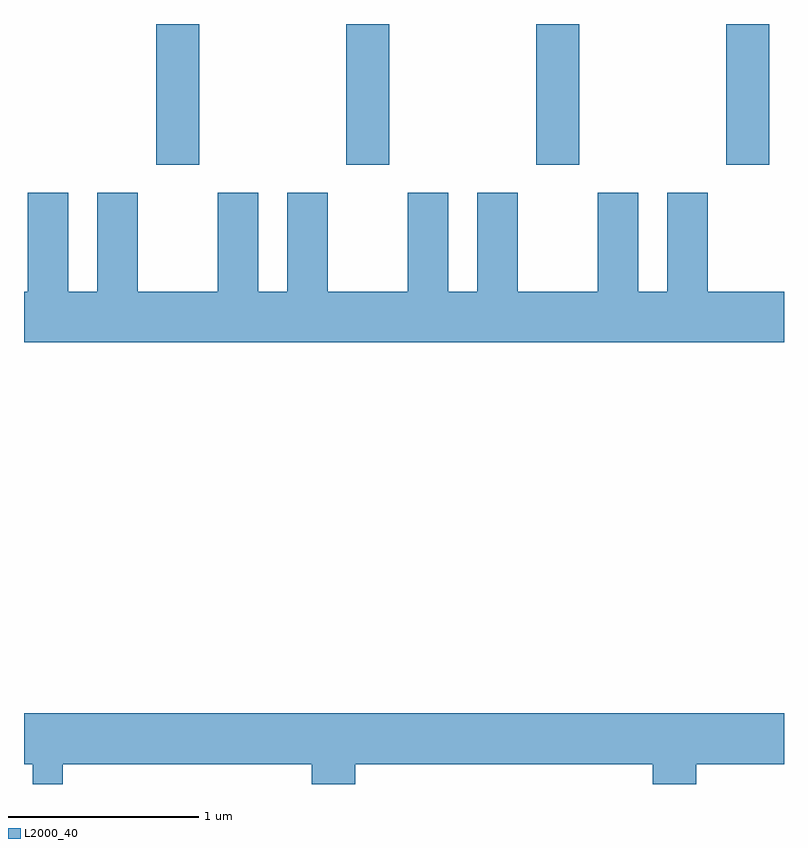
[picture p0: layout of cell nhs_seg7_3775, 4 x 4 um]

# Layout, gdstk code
import gdstk
lib = gdstk.Library(unit=1e-6, precision=1e-09)
def R(c, l, rs):  # rectangles x0, y0, x1, y1
    for r in rs: c.add(gdstk.rectangle(r[:2], r[2:], *l))
def A(c, l, x, y, w, h, nx, ny, dx, dy):  # array of equal rectangles
    R(c, l, [(x+i*dx, y+j*dy, x+i*dx+w, y+j*dy+h) for i in range(nx) for j in range(ny)])
def P(c, l, *ps):  # polygons
    for p in ps: c.add(gdstk.Polygon(p, *l))
L2000_40 = (2000, 40)

nhs_seg7_3775 = lib.new_cell('nhs_seg7_3775')
A(nhs_seg7_3775, L2000_40, 302.306, 1677.511, 0.228, 0.741, 4, 1, 1, 0)
P(nhs_seg7_3775, L2000_40, [(305.611,1676.844),(305.209,1676.844),(305.209,1677.364),(304.996,1677.364),(304.996,1676.844),(304.844,1676.844),(304.844,1677.364),(304.631,1677.364),(304.631,1676.844),(304.209,1676.844),(304.209,1677.364),(303.996,1677.364),(303.996,1676.844),(303.844,1676.844),(303.844,1677.364),(303.631,1677.364),(303.631,1676.844),(303.209,1676.844),(303.209,1677.364),(302.996,1677.364),(302.996,1676.844),(302.844,1676.844),(302.844,1677.364),(302.631,1677.364),(302.631,1676.844),(302.209,1676.844),(302.209,1677.364),(301.996,1677.364),(301.996,1676.844),(301.844,1676.844),(301.844,1677.364),(301.631,1677.364),(301.631,1676.844),(301.611,1676.844),(301.611,1676.576),(305.611,1676.576)],
  [(301.814,1674.356),(303.126,1674.356),(303.126,1674.252),(303.354,1674.252),(303.354,1674.356),(304.921,1674.356),(304.921,1674.252),(305.149,1674.252),(305.149,1674.356),(305.611,1674.356),(305.611,1674.624),(301.611,1674.624),(301.611,1674.356),(301.656,1674.356),(301.656,1674.252),(301.814,1674.252)])

lib.write_gds('nhs_seg7_3775.gds')
